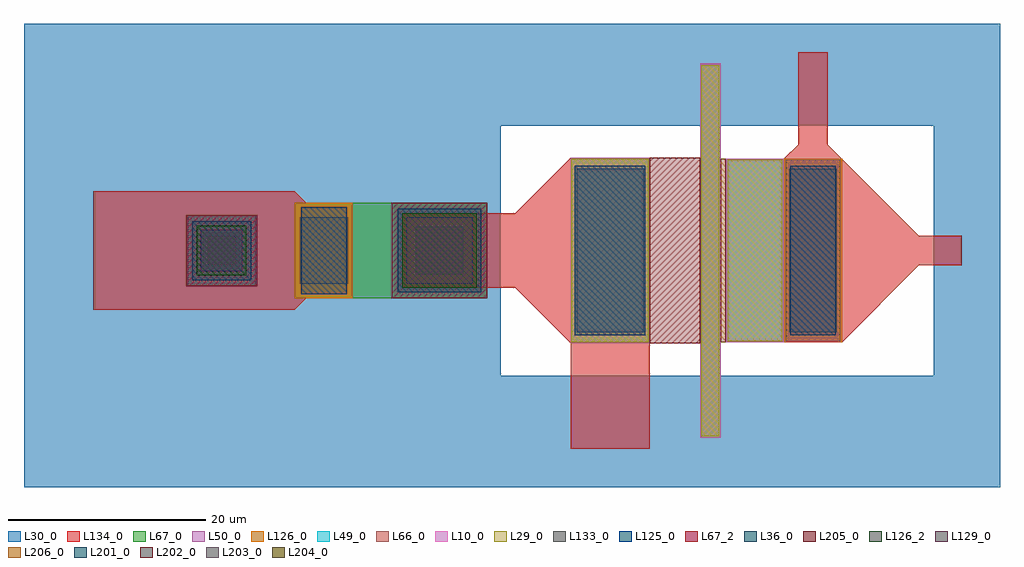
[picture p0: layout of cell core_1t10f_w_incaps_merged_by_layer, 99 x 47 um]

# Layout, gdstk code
import gdstk
lib = gdstk.Library(unit=1e-6, precision=1e-09)
def R(c, l, rs):  # rectangles x0, y0, x1, y1
    for r in rs: c.add(gdstk.rectangle(r[:2], r[2:], *l))
def P(c, l, *ps):  # polygons
    for p in ps: c.add(gdstk.Polygon(p, *l))
L10_0 = (10, 0)
L29_0 = (29, 0)
L30_0 = (30, 0)
L36_0 = (36, 0)
L49_0 = (49, 0)
L50_0 = (50, 0)
L66_0 = (66, 0)
L67_0 = (67, 0)
L67_2 = (67, 2)
L125_0 = (125, 0)
L126_0 = (126, 0)
L126_2 = (126, 2)
L129_0 = (129, 0)
L133_0 = (133, 0)
L134_0 = (134, 0)
L201_0 = (201, 0)
L202_0 = (202, 0)
L203_0 = (203, 0)
L204_0 = (204, 0)
L205_0 = (205, 0)
L206_0 = (206, 0)

core_1t10f_w_incaps_merg = lib.new_cell('core_1t10f_w_incaps_merged_by_layer')
R(core_1t10f_w_incaps_merg, L10_0, [(53.58,-13,55.68,25), (40.46,-3.4,48.46,15.4), (56.18,-3.3,62.08,15.3)])
R(core_1t10f_w_incaps_merg, L29_0, [(53.715,-12.815,55.545,24.815), (40.525,-3.32,48.395,15.32), (56.37,-3.215,61.89,15.215)])
R(core_1t10f_w_incaps_merg, L30_0, [(-15,-18,33.34,29), (40.46,-3.4,48.46,15.4), (56.18,-3.3,62.08,15.3)])
P(core_1t10f_w_incaps_merg, L30_0, [(53.58,-6.68),(33.34,-6.68),(33.34,-18),(55.68,-18),(55.68,29),(33.34,29),(33.34,18.67),(53.58,18.67)],
  [(77.28,-6.68),(55.68,-6.68),(55.68,-18),(84,-18),(84,29),(55.68,29),(55.68,18.67),(77.28,18.67)])
R(core_1t10f_w_incaps_merg, L36_0, [(22.9,1.75,31.4,10.25), (2.05,3,8.04,8.99)])
R(core_1t10f_w_incaps_merg, L49_0, [(53.715,-12.815,55.545,24.815), (40.525,-3.32,48.395,15.32), (56.37,-3.215,61.89,15.215), (1.59,2.415,8.5,9.575)])
R(core_1t10f_w_incaps_merg, L50_0, [(53.58,-13,55.68,25), (40.46,-3.4,48.46,15.4), (56.18,-3.3,67.98,15.3), (1.45,2.4,8.64,9.59)])
R(core_1t10f_w_incaps_merg, L66_0, [(53.715,-12.815,55.545,24.815), (40.525,-3.32,48.395,15.32), (62.27,-3.215,67.79,15.215), (1.59,2.415,8.5,9.575)])
R(core_1t10f_w_incaps_merg, L67_0, [(53.58,-13,55.68,25), (40.46,-3.4,48.46,15.4), (62.08,-3.3,67.98,15.3), (12.47,1.15,32,10.85), (1.45,2.4,8.64,9.59)])
R(core_1t10f_w_incaps_merg, L67_2, [(22.3,1.15,32,10.85), (1.45,2.4,8.64,9.59)])
R(core_1t10f_w_incaps_merg, L125_0, [(40.89,-2.61,48.03,14.61), (62.72,-2.61,67.34,14.61), (13.11,1.59,17.73,10.41)])
R(core_1t10f_w_incaps_merg, L126_0, [(40.46,-3.4,48.46,15.4), (62.08,-3.3,67.98,15.3), (12.47,1.15,18.37,10.85), (23.37,2.22,30.93,9.78)])
P(core_1t10f_w_incaps_merg, L126_0, [(7.59,8.53),(2.53,8.53),(2.53,8.515),(2.525,8.515),(2.525,3.475),(2.53,3.475),(2.53,3.47),(7.59,3.47)])
R(core_1t10f_w_incaps_merg, L126_2, [(23.37,2.22,30.93,9.78), (2.525,3.475,7.565,8.515)])
R(core_1t10f_w_incaps_merg, L129_0, [(23.79,2.64,30.51,9.36), (2.945,3.895,7.145,8.095)])
R(core_1t10f_w_incaps_merg, L133_0, [(41.07,-2.29,47.85,14.29), (62.62,-2.29,67.44,14.29), (13.01,2.61,17.83,9.39), (24.74,3.59,29.56,8.41), (3.63,4.57,6.49,7.43)])
P(core_1t10f_w_incaps_merg, L134_0, [(75.78,4.5),(80.1,4.5),(80.1,7.5),(75.78,7.5),(66.53,16.75),(66.53,26.1),(63.53,26.1),(63.53,16.75),(62.08,15.3),(62.08,-3.3),(67.98,-3.3)],
  [(48.46,15.4),(40.46,15.4),(34.84,9.78),(23.37,9.78),(23.37,2.22),(34.84,2.22),(40.46,-3.4),(40.46,-14.1),(48.46,-14.1)],
  [(-8,0),(12.47,0),(13.62,1.15),(18.37,1.15),(18.37,10.85),(13.62,10.85),(12.47,12),(-8,12)])
P(core_1t10f_w_incaps_merg, L201_0, [(-8,0),(-8,12),(-8,12),(-8,0)])
P(core_1t10f_w_incaps_merg, L202_0, [(80.1,4.5),(80.1,7.5),(80.1,7.5),(80.1,4.5)])
P(core_1t10f_w_incaps_merg, L203_0, [(63.53,26.1),(63.53,26.1),(66.53,26.1),(66.53,26.1)])
P(core_1t10f_w_incaps_merg, L204_0, [(40.46,-14.1),(40.46,-14.1),(48.46,-14.1),(48.46,-14.1)])
R(core_1t10f_w_incaps_merg, L205_0, [(48.46,-3.4,53.58,15.4)])
R(core_1t10f_w_incaps_merg, L206_0, [(55.68,-3.3,56.18,15.3)])

lib.write_gds('core_1t10f_w_incaps_merged_by_layer.gds')
